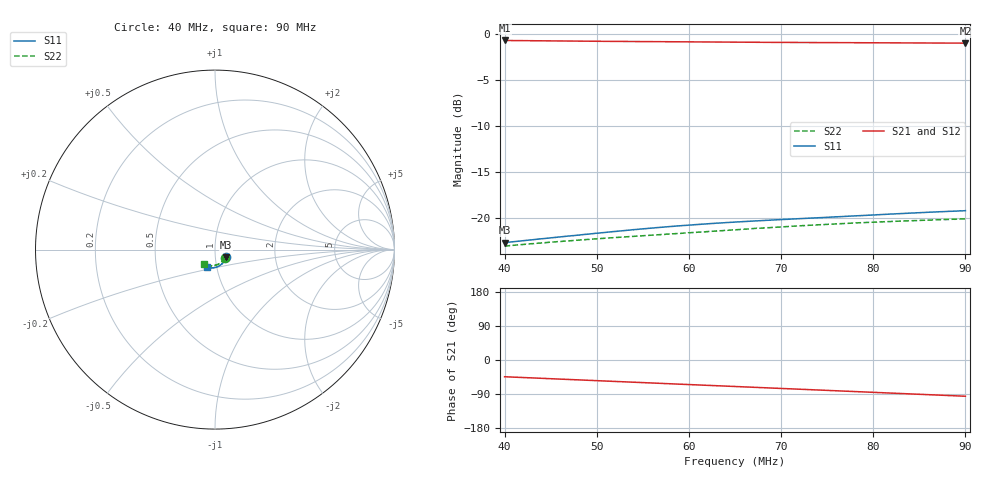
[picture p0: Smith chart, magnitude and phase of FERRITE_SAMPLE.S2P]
!Agilent Technologies,E5061B,MY49102235,A.02.00
!Date: Thu Jun 29 15:38:14 2023
!Data & Calibration Information:
!Freq	S11:SOLT2(ON)	S21:SOLT2(ON)	S12:SOLT2(ON)	S22:SOLT2(ON)
# Hz S dB R 50
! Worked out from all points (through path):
!   1600 points, 40 MHz to 90 MHz, reference 50 ohm
!   highest |S21| = -0.65 dB at 40.03 MHz (marker M1); lowest = -0.9 dB at 90 MHz (marker M2)
!   group delay of S21, straight-line fit = 2.85 ns
!   lowest |S11| = -22.7 dB at 40 MHz (marker M3), VSWR 1.16, Z = 56.1 - j4.89 ohm
!   |S11| at or under -10 dB: start of sweep to end of sweep
!   |S22| runs from -23.1 to -20.1 dB; largest |S21 - S12| = 0.0007
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4e7  -22.69 -36.3  -0.65 -44.2  -0.65 -44.2  -23.07 -39.9
4.003127e7  -22.68 -36.3  -0.65 -44.2  -0.66 -44.2  -23.07 -39.9
4.087555e7  -22.59 -37.8  -0.66 -45.1  -0.66 -45.1  -22.98 -41.6
4.450281e7  -22.21 -44.0  -0.70 -48.8  -0.70 -48.8  -22.67 -48.6
4.834897e7  -21.82 -50.8  -0.73 -52.8  -0.73 -52.8  -22.38 -55.8
5.225766e7  -21.45 -57.5  -0.76 -56.9  -0.76 -56.9  -22.11 -63.0
5.482176e7  -21.20 -61.7  -0.78 -59.5  -0.78 -59.5  -21.94 -67.7
5.666667e7  -21.04 -64.8  -0.79 -61.4  -0.79 -61.4  -21.84 -71.0
5.898061e7  -20.84 -68.5  -0.81 -63.8  -0.81 -63.8  -21.68 -75.2
6.082552e7  -20.71 -71.5  -0.82 -65.6  -0.82 -65.7  -21.56 -78.4
6.501563e7  -20.45 -78.1  -0.84 -69.9  -0.85 -70.0  -21.28 -85.8
6.901814e7  -20.22 -84.3  -0.86 -74.0  -0.86 -74.0  -21.03 -92.8
7.133208e7  -20.11 -87.8  -0.87 -76.4  -0.87 -76.4  -20.90 -96.9
7.33646e7  -20.00 -91.0  -0.88 -78.5  -0.88 -78.5  -20.78 -100.4
7.527205e7  -19.91 -93.8  -0.89 -80.5  -0.89 -80.5  -20.68 -103.7
7.746091e7  -19.81 -97.1  -0.90 -82.7  -0.90 -82.7  -20.57 -107.4
7.936836e7  -19.71 -100.0  -0.90 -84.7  -0.90 -84.7  -20.49 -110.7
8.16823e7  -19.59 -103.4  -0.91 -87.1  -0.91 -87.1  -20.39 -114.5
8.362101e7  -19.49 -106.2  -0.92 -89.1  -0.92 -89.1  -20.32 -117.7
8.596623e7  -19.38 -109.5  -0.93 -91.5  -0.93 -91.5  -20.23 -121.5
8.971857e7  -19.21 -114.7  -0.94 -95.3  -0.94 -95.4  -20.10 -127.6
9e7  -19.20 -115.1  -0.94 -95.6  -0.94 -95.7  -20.09 -128.0
